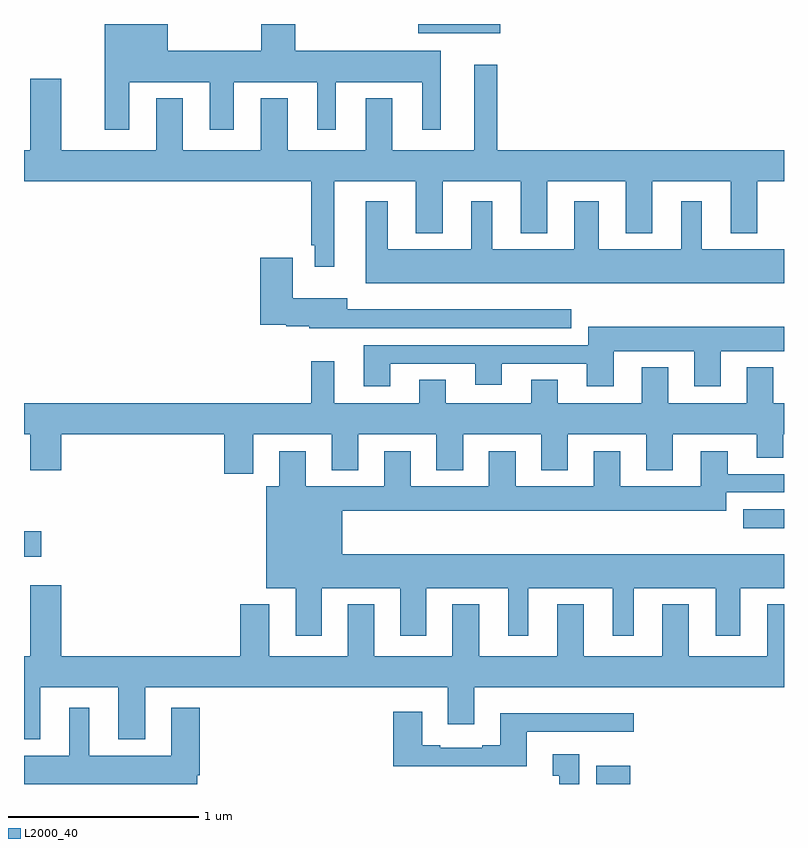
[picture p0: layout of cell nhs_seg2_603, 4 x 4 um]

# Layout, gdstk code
import gdstk
lib = gdstk.Library(unit=1e-6, precision=1e-09)
def R(c, l, rs):  # rectangles x0, y0, x1, y1
    for r in rs: c.add(gdstk.rectangle(r[:2], r[2:], *l))
def P(c, l, *ps):  # polygons
    for p in ps: c.add(gdstk.Polygon(p, *l))
L2000_40 = (2000, 40)

nhs_seg2_603 = lib.new_cell('nhs_seg2_603')
R(nhs_seg2_603, L2000_40, [(144.011,641.8,144.19,641.896), (141,642.995,141.091,643.13), (144.786,643.145,145,643.246), (143.076,645.752,143.506,645.8)])
P(nhs_seg2_603, L2000_40, [(141.553,645.494),(141.977,645.494),(141.977,645.243),(142.105,645.243),(142.105,645.494),(142.544,645.494),(142.544,645.243),(142.642,645.243),(142.642,645.494),(143.096,645.494),(143.096,645.243),(143.194,645.243),(143.194,645.658),(142.427,645.658),(142.427,645.8),(142.249,645.8),(142.249,645.658),(141.757,645.658),(141.757,645.8),(141.425,645.8),(141.425,645.243),(141.553,645.243)],
  [(143.369,645.586),(143.369,645.136),(142.939,645.136),(142.939,645.409),(142.799,645.409),(142.799,645.136),(142.387,645.136),(142.387,645.409),(142.247,645.409),(142.247,645.136),(141.835,645.136),(141.835,645.409),(141.695,645.409),(141.695,645.136),(141.196,645.136),(141.196,645.511),(141.032,645.511),(141.032,645.136),(141,645.136),(141,644.972),(142.512,644.972),(142.512,644.635),(142.529,644.635),(142.529,644.523),(142.633,644.523),(142.633,644.972),(143.063,644.972),(143.063,644.699),(143.203,644.699),(143.203,644.972),(143.615,644.972),(143.615,644.699),(143.755,644.699),(143.755,644.972),(144.167,644.972),(144.167,644.699),(144.307,644.699),(144.307,644.972),(144.719,644.972),(144.719,644.699),(144.859,644.699),(144.859,644.972),(145,644.972),(145,645.136),(143.491,645.136),(143.491,645.586)],
  [(145,644.614),(144.568,644.614),(144.568,644.866),(144.458,644.866),(144.458,644.614),(144.025,644.614),(144.025,644.866),(143.897,644.866),(143.897,644.614),(143.464,644.614),(143.464,644.866),(143.354,644.866),(143.354,644.614),(142.915,644.614),(142.915,644.866),(142.799,644.866),(142.799,644.435),(145,644.435)],
  [(143.881,644.299),(142.702,644.299),(142.702,644.356),(142.414,644.356),(142.414,644.569),(142.244,644.569),(142.244,644.216),(142.38,644.216),(142.38,644.209),(142.5,644.209),(142.5,644.198),(143.881,644.198)],
  [(142.927,644.013),(143.375,644.013),(143.375,643.901),(143.515,643.901),(143.515,644.013),(143.963,644.013),(143.963,643.893),(144.103,643.893),(144.103,644.078),(144.527,644.078),(144.527,643.893),(144.667,643.893),(144.667,644.078),(145,644.078),(145,644.206),(143.969,644.206),(143.969,644.109),(142.787,644.109),(142.787,643.893),(142.927,643.893)],
  [(142.207,643.64),(142.619,643.64),(142.619,643.451),(142.759,643.451),(142.759,643.64),(143.171,643.64),(143.171,643.451),(143.311,643.451),(143.311,643.64),(143.723,643.64),(143.723,643.451),(143.863,643.451),(143.863,643.64),(144.275,643.64),(144.275,643.451),(144.415,643.451),(144.415,643.64),(144.857,643.64),(144.857,643.516),(144.997,643.516),(144.997,643.64),(145,643.64),(145,643.804),(144.943,643.804),(144.943,643.993),(144.803,643.993),(144.803,643.804),(144.391,643.804),(144.391,643.993),(144.251,643.993),(144.251,643.804),(143.809,643.804),(143.809,643.928),(143.669,643.928),(143.669,643.804),(143.221,643.804),(143.221,643.928),(143.081,643.928),(143.081,643.804),(142.633,643.804),(142.633,644.026),(142.512,644.026),(142.512,643.804),(141,643.804),(141,643.64),(141.032,643.64),(141.032,643.452),(141.196,643.452),(141.196,643.64),(142.055,643.64),(142.055,643.434),(142.207,643.434)],
  [(142.567,642.83),(142.979,642.83),(142.979,642.579),(143.116,642.579),(143.116,642.83),(143.549,642.83),(143.549,642.579),(143.653,642.579),(143.653,642.83),(144.098,642.83),(144.098,642.579),(144.208,642.579),(144.208,642.83),(144.641,642.83),(144.641,642.579),(144.769,642.579),(144.769,642.83),(145,642.83),(145,643.009),(142.675,643.009),(142.675,643.238),(144.697,643.238),(144.697,643.335),(145,643.335),(145,643.431),(144.703,643.431),(144.703,643.552),(144.563,643.552),(144.563,643.366),(144.139,643.366),(144.139,643.552),(143.999,643.552),(143.999,643.366),(143.587,643.366),(143.587,643.552),(143.447,643.552),(143.447,643.366),(143.035,643.366),(143.035,643.552),(142.895,643.552),(142.895,643.366),(142.483,643.366),(142.483,643.552),(142.343,643.552),(142.343,643.366),(142.274,643.366),(142.274,642.83),(142.43,642.83),(142.43,642.579),(142.567,642.579)],
  [(141.085,642.308),(141.497,642.308),(141.497,642.035),(141.637,642.035),(141.637,642.308),(143.231,642.308),(143.231,642.114),(143.371,642.114),(143.371,642.308),(145,642.308),(145,642.745),(144.911,642.745),(144.911,642.472),(144.499,642.472),(144.499,642.745),(144.359,642.745),(144.359,642.472),(143.947,642.472),(143.947,642.745),(143.807,642.745),(143.807,642.472),(143.395,642.472),(143.395,642.745),(143.255,642.745),(143.255,642.472),(142.843,642.472),(142.843,642.745),(142.703,642.745),(142.703,642.472),(142.291,642.472),(142.291,642.745),(142.139,642.745),(142.139,642.472),(141.196,642.472),(141.196,642.847),(141.032,642.847),(141.032,642.472),(141,642.472),(141,642.035),(141.085,642.035)],
  [(141.913,641.846),(141.926,641.846),(141.926,642.202),(141.776,642.202),(141.776,641.95),(141.343,641.95),(141.343,642.202),(141.239,642.202),(141.239,641.95),(141,641.95),(141,641.8),(141.913,641.8)],
  [(143.647,642.075),(144.208,642.075),(144.208,642.172),(143.507,642.172),(143.507,642.004),(143.411,642.004),(143.411,641.991),(143.191,641.991),(143.191,642.004),(143.095,642.004),(143.095,642.181),(142.943,642.181),(142.943,641.894),(143.647,641.894)],
  [(143.923,641.956),(143.783,641.956),(143.783,641.843),(143.816,641.843),(143.816,641.8),(143.923,641.8)])

lib.write_gds('nhs_seg2_603.gds')
